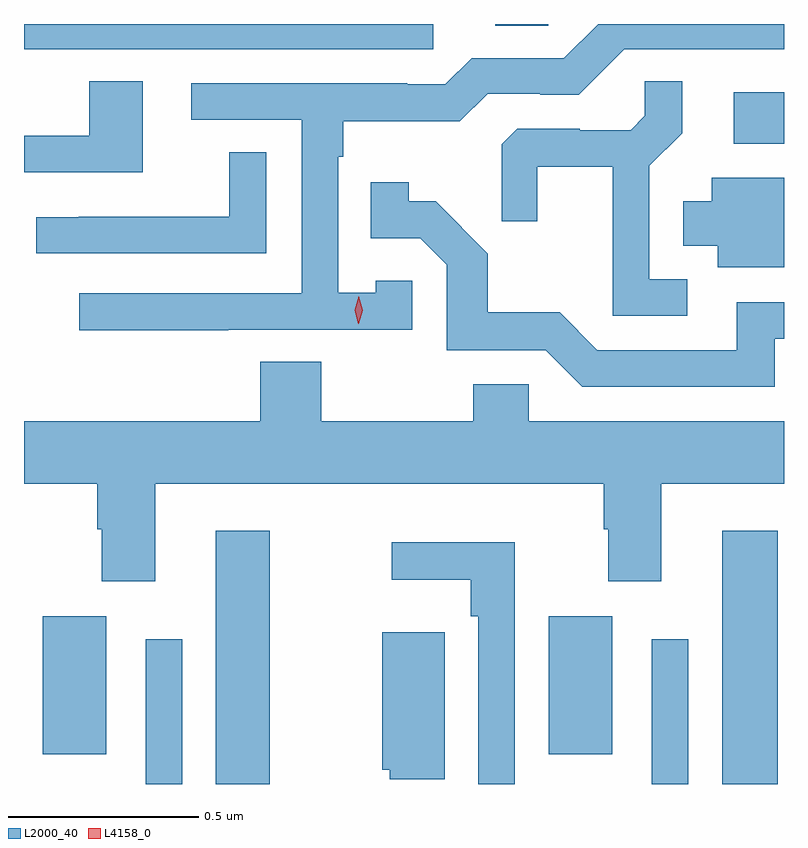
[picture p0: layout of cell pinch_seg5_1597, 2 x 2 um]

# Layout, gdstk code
import gdstk
lib = gdstk.Library(unit=1e-6, precision=1e-09)
def R(c, l, rs):  # rectangles x0, y0, x1, y1
    for r in rs: c.add(gdstk.rectangle(r[:2], r[2:], *l))
def P(c, l, *ps):  # polygons
    for p in ps: c.add(gdstk.Polygon(p, *l))
L2000_40 = (2000, 40)
L4158_0 = (4158, 0)

pinch_seg5_1597 = lib.new_cell('pinch_seg5_1597')
R(pinch_seg5_1597, L2000_40, [(336.549,863.962,336.645,864.343), (336.734,863.962,336.876,864.628), (337.881,863.962,337.977,864.343), (338.066,863.962,338.213,864.628), (336.278,864.04,336.445,864.403), (337.61,864.04,337.777,864.403), (338.097,865.647,338.229,865.783), (336.229,865.896,337.306,865.962), (337.469,865.957,337.608,865.962)])
P(pinch_seg5_1597, L2000_40, [(336.767,865.158),(337.251,865.158),(337.251,865.287),(337.155,865.287),(337.155,865.255),(337.056,865.255),(337.056,865.613),(337.069,865.613),(337.069,865.706),(337.376,865.706),(337.449,865.779),(337.588,865.779),(337.588,865.776),(337.689,865.776),(337.809,865.896),(338.229,865.896),(338.229,865.962),(337.74,865.962),(337.65,865.872),(337.407,865.872),(337.338,865.803),(337.238,865.803),(337.238,865.806),(336.669,865.806),(336.669,865.71),(336.96,865.71),(336.96,865.254),(336.375,865.254),(336.375,865.156),(336.767,865.156)],
  [(337.975,865.29),(337.875,865.29),(337.875,865.589),(337.961,865.675),(337.961,865.811),(337.863,865.811),(337.863,865.72),(337.826,865.683),(337.692,865.683),(337.692,865.686),(337.527,865.686),(337.486,865.645),(337.486,865.443),(337.58,865.443),(337.58,865.586),(337.778,865.586),(337.778,865.194),(337.975,865.194)],
  [(336.541,865.811),(336.401,865.811),(336.401,865.668),(336.229,865.668),(336.229,865.572),(336.541,865.572)],
  [(336.867,865.625),(336.769,865.625),(336.769,865.455),(336.373,865.455),(336.373,865.454),(336.261,865.454),(336.261,865.359),(336.867,865.359)],
  [(338.229,865.558),(338.039,865.558),(338.039,865.495),(337.964,865.495),(337.964,865.379),(338.054,865.379),(338.054,865.322),(338.229,865.322)],
  [(338.204,865.134),(338.229,865.134),(338.229,865.23),(338.105,865.23),(338.105,865.104),(337.737,865.104),(337.639,865.203),(337.45,865.203),(337.45,865.358),(337.312,865.496),(337.242,865.496),(337.242,865.546),(337.141,865.546),(337.141,865.398),(337.272,865.398),(337.341,865.329),(337.341,865.104),(337.602,865.104),(337.698,865.008),(338.204,865.008)],
  [(336.574,864.752),(337.754,864.752),(337.754,864.632),(337.766,864.632),(337.766,864.495),(337.906,864.495),(337.906,864.752),(338.229,864.752),(338.229,864.916),(337.557,864.916),(337.557,865.014),(337.411,865.014),(337.411,864.916),(337.011,864.916),(337.011,865.073),(336.851,865.073),(336.851,864.916),(336.229,864.916),(336.229,864.752),(336.422,864.752),(336.422,864.632),(336.434,864.632),(336.434,864.495),(336.574,864.495)],
  [(337.521,864.598),(337.197,864.598),(337.197,864.5),(337.405,864.5),(337.405,864.404),(337.425,864.404),(337.425,863.962),(337.521,863.962)],
  [(337.336,864.361),(337.172,864.361),(337.172,864),(337.191,864),(337.191,863.975),(337.336,863.975)])
P(pinch_seg5_1597, L4158_0, [(337.109,865.173),(337.109,865.173),(337.1,865.209),(337.11,865.245),(337.11,865.245),(337.11,865.245),(337.12,865.209),(337.11,865.173)])

lib.write_gds('pinch_seg5_1597.gds')
